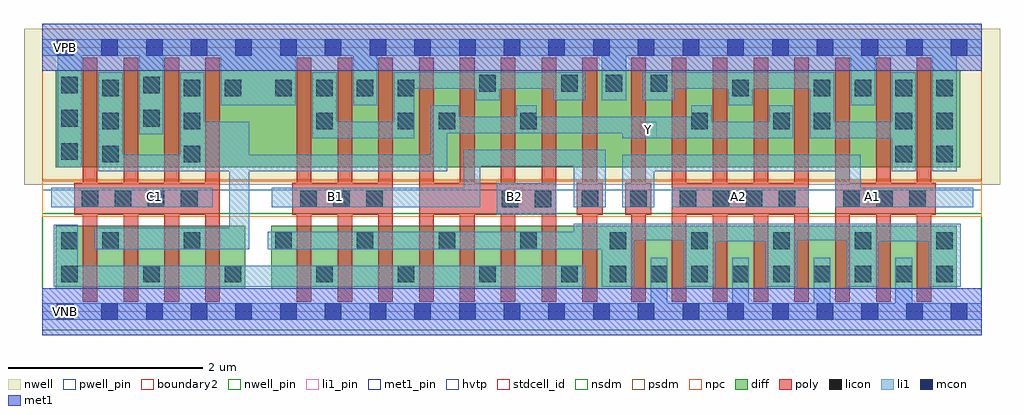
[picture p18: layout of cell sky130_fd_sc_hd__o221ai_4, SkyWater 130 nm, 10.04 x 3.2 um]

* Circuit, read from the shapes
.subckt sky130_fd_sc_hd__o221ai_4 A1 A2 B1 B2 C1 VGND VNB VPB VPWR Y
XM1 Y C1 n1 VNB sky130_fd_pr__nfet_01v8 w=0.65 l=0.15 m=4
XM2 n1 B1 n2 VNB sky130_fd_pr__nfet_01v8 w=0.65 l=0.15 m=4
XM3 n2 B2 n1 VNB sky130_fd_pr__nfet_01v8 w=0.65 l=0.15 m=4
XM4 VGND A1 n2 VNB sky130_fd_pr__nfet_01v8 w=0.65 l=0.15 m=4
XM5 n2 A2 VGND VNB sky130_fd_pr__nfet_01v8 w=0.65 l=0.15 m=4
XM6 Y C1 VPWR VPB sky130_fd_pr__pfet_01v8_hvt w=1 l=0.15 m=4
XM7 n3 B1 VPWR VPB sky130_fd_pr__pfet_01v8_hvt w=1 l=0.15 m=4
XM8 Y B2 n3 VPB sky130_fd_pr__pfet_01v8_hvt w=1 l=0.15 m=4
XM9 n4 A1 VPWR VPB sky130_fd_pr__pfet_01v8_hvt w=1 l=0.15 m=4
XM10 Y A2 n4 VPB sky130_fd_pr__pfet_01v8_hvt w=1 l=0.15 m=4
.ends

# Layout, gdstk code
import gdstk
lib = gdstk.Library(unit=1e-6, precision=1e-09)
def R(c, l, rs):  # rectangles x0, y0, x1, y1
    for r in rs: c.add(gdstk.rectangle(r[:2], r[2:], *l))
def A(c, l, x, y, w, h, nx, ny, dx, dy):  # array of equal rectangles
    R(c, l, [(x+i*dx, y+j*dy, x+i*dx+w, y+j*dy+h) for i in range(nx) for j in range(ny)])
def P(c, l, *ps):  # polygons
    for p in ps: c.add(gdstk.Polygon(p, *l))
nwell_pin = (64, 16)
nwell = (64, 20)
diff = (65, 20)
poly = (66, 20)
licon = (66, 44)
li1_pin = (67, 16)
li1 = (67, 20)
mcon = (67, 44)
met1_pin = (68, 16)
met1 = (68, 20)
hvtp = (78, 44)
stdcell_id = (81, 4)
nsdm = (93, 44)
psdm = (94, 20)
npc = (95, 20)
pwell_pin = (122, 16)
boundary2 = (236, 0)

sky130_fd_sc_hd__o221ai_ = lib.new_cell('sky130_fd_sc_hd__o221ai_4')
R(sky130_fd_sc_hd__o221ai_, nwell_pin, [(0.15,2.635,0.32,2.805)])
R(sky130_fd_sc_hd__o221ai_, nwell, [(-0.19,1.305,9.85,2.91)])
R(sky130_fd_sc_hd__o221ai_, diff, [(0.135,0.235,2.085,0.885), (2.355,0.235,9.405,0.885), (0.135,1.485,9.44,2.485)])
P(sky130_fd_sc_hd__o221ai_, poly, [(5.765,1.325),(5.705,1.325),(5.705,2.615),(5.555,2.615),(5.555,1.325),(5.495,1.325),(5.495,0.995),(5.555,0.995),(5.555,0.105),(5.705,0.105),(5.705,0.995),(5.765,0.995)],
  [(6.265,1.325),(6.205,1.325),(6.205,2.615),(6.055,2.615),(6.055,1.325),(5.995,1.325),(5.995,0.995),(6.055,0.995),(6.055,0.105),(6.205,0.105),(6.205,0.995),(6.265,0.995)],
  [(9.19,1.325),(9.145,1.325),(9.145,2.615),(8.995,2.615),(8.995,1.325),(8.725,1.325),(8.725,2.615),(8.575,2.615),(8.575,1.325),(8.305,1.325),(8.305,2.615),(8.155,2.615),(8.155,0.105),(8.305,0.105),(8.305,0.995),(8.575,0.995),(8.575,0.105),(8.725,0.105),(8.725,0.995),(8.995,0.995),(8.995,0.105),(9.145,0.105),(9.145,0.995),(9.19,0.995)],
  [(7.885,2.615),(7.735,2.615),(7.735,1.325),(7.465,1.325),(7.465,2.615),(7.315,2.615),(7.315,1.325),(7.045,1.325),(7.045,2.615),(6.895,2.615),(6.895,1.325),(6.625,1.325),(6.625,2.615),(6.475,2.615),(6.475,0.105),(6.625,0.105),(6.625,0.995),(6.895,0.995),(6.895,0.105),(7.045,0.105),(7.045,0.995),(7.315,0.995),(7.315,0.105),(7.465,0.105),(7.465,0.995),(7.735,0.995),(7.735,0.105),(7.885,0.105)],
  [(3.605,2.615),(3.455,2.615),(3.455,1.325),(3.185,1.325),(3.185,2.615),(3.035,2.615),(3.035,1.325),(2.765,1.325),(2.765,2.615),(2.615,2.615),(2.615,1.325),(2.57,1.325),(2.57,0.995),(2.615,0.995),(2.615,0.105),(2.765,0.105),(2.765,0.995),(3.035,0.995),(3.035,0.105),(3.185,0.105),(3.185,0.995),(3.455,0.995),(3.455,0.105),(3.605,0.105)],
  [(5.285,2.615),(5.135,2.615),(5.135,1.325),(4.865,1.325),(4.865,2.615),(4.715,2.615),(4.715,1.325),(4.445,1.325),(4.445,2.615),(4.295,2.615),(4.295,1.325),(4.025,1.325),(4.025,2.615),(3.875,2.615),(3.875,0.105),(4.025,0.105),(4.025,0.995),(4.295,0.995),(4.295,0.105),(4.445,0.105),(4.445,0.995),(4.715,0.995),(4.715,0.105),(4.865,0.105),(4.865,0.995),(5.135,0.995),(5.135,0.105),(5.285,0.105)],
  [(1.825,2.615),(1.675,2.615),(1.675,1.325),(1.405,1.325),(1.405,2.615),(1.255,2.615),(1.255,1.325),(0.985,1.325),(0.985,2.615),(0.835,2.615),(0.835,1.325),(0.565,1.325),(0.565,2.615),(0.415,2.615),(0.415,1.325),(0.325,1.325),(0.325,0.995),(0.415,0.995),(0.415,0.105),(0.565,0.105),(0.565,0.995),(0.835,0.995),(0.835,0.105),(0.985,0.105),(0.985,0.995),(1.255,0.995),(1.255,0.105),(1.405,0.105),(1.405,0.995),(1.675,0.995),(1.675,0.105),(1.825,0.105)])
A(sky130_fd_sc_hd__o221ai_, licon, 0.195, 0.305, 0.17, 0.17, 3, 1, 0.84, 0)
A(sky130_fd_sc_hd__o221ai_, licon, 2.815, 0.305, 0.17, 0.17, 4, 1, 0.84, 0)
A(sky130_fd_sc_hd__o221ai_, licon, 5.835, 0.305, 0.17, 0.17, 9, 1, 0.42, 0)
A(sky130_fd_sc_hd__o221ai_, licon, 2.395, 0.645, 0.17, 0.17, 4, 1, 0.84, 0)
A(sky130_fd_sc_hd__o221ai_, licon, 5.835, 0.645, 0.17, 0.17, 5, 1, 0.84, 0)
A(sky130_fd_sc_hd__o221ai_, licon, 0.405, 1.075, 0.17, 0.17, 4, 1, 0.34, 0)
A(sky130_fd_sc_hd__o221ai_, licon, 2.65, 1.075, 0.17, 0.17, 3, 1, 0.34, 0)
A(sky130_fd_sc_hd__o221ai_, licon, 6.555, 1.075, 0.17, 0.17, 4, 1, 0.34, 0)
A(sky130_fd_sc_hd__o221ai_, licon, 8.235, 1.075, 0.17, 0.17, 3, 1, 0.34, 0)
A(sky130_fd_sc_hd__o221ai_, licon, 0.615, 1.535, 0.17, 0.17, 1, 3, 0, 0.34)
A(sky130_fd_sc_hd__o221ai_, licon, 1.455, 1.535, 0.17, 0.17, 1, 3, 0, 0.34)
A(sky130_fd_sc_hd__o221ai_, licon, 0.195, 1.565, 0.17, 0.17, 1, 3, 0, 0.34)
A(sky130_fd_sc_hd__o221ai_, licon, 2.395, 2.215, 0.17, 0.17, 4, 1, 0.42, 0)
A(sky130_fd_sc_hd__o221ai_, licon, 7.935, 2.215, 0.17, 0.17, 4, 1, 0.42, 0)
A(sky130_fd_sc_hd__o221ai_, licon, 5.335, 2.265, 0.17, 0.17, 3, 1, 0.46, 0)
R(sky130_fd_sc_hd__o221ai_, licon, [(0.195,0.645,0.365,0.815), (0.615,0.645,0.785,0.815), (1.455,0.645,1.625,0.815), (4.725,1.075,4.895,1.245), (5.065,1.075,5.235,1.245), (5.545,1.075,5.715,1.245), (6.045,1.075,6.215,1.245), (8.775,1.535,8.945,1.705), (9.195,1.535,9.365,1.705), (2.815,1.875,2.985,2.045), (3.655,1.875,3.825,2.045), (4.075,1.875,4.245,2.045), (4.915,1.875,5.085,2.045), (6.675,1.875,6.845,2.045), (7.515,1.875,7.685,2.045), (7.935,1.875,8.105,2.045), (8.775,1.875,8.945,2.045), (9.195,1.875,9.365,2.045), (1.035,1.905,1.205,2.075), (1.875,2.215,2.045,2.385), (7.095,2.215,7.265,2.385), (1.035,2.245,1.205,2.415), (4.495,2.265,4.665,2.435)])
R(sky130_fd_sc_hd__o221ai_, li1_pin, [(1.07,1.105,1.24,1.275), (2.93,1.105,3.1,1.275), (4.77,1.105,4.94,1.275), (7.07,1.105,7.24,1.275), (8.45,1.105,8.62,1.275), (6.15,1.785,6.32,1.955)])
R(sky130_fd_sc_hd__o221ai_, li1, [(4.675,0.995,5.285,1.325), (0.09,1.075,1.75,1.275), (6.475,1.075,7.885,1.275)])
P(sky130_fd_sc_hd__o221ai_, li1, [(9.66,2.805),(0,2.805),(0,2.635),(0.155,2.635),(0.155,1.485),(0.405,1.485),(0.405,2.635),(0.995,2.635),(0.995,1.825),(1.245,1.825),(1.245,2.635),(1.835,2.635),(1.835,2.125),(2.605,2.125),(2.605,2.635),(3.195,2.635),(3.195,2.125),(3.445,2.125),(3.445,2.635),(5.755,2.635),(5.755,2.175),(6.005,2.175),(6.005,2.635),(8.315,2.635),(8.315,2.125),(8.565,2.125),(8.565,2.635),(9.155,2.635),(9.155,1.445),(9.405,1.445),(9.405,2.635),(9.66,2.635)],
  [(9.575,1.275),(8.42,1.275),(8.42,1.615),(5.965,1.615),(5.965,1.075),(6.295,1.075),(6.295,1.445),(8.155,1.445),(8.155,1.075),(9.575,1.075)],
  [(9.66,0.085),(8.945,0.085),(8.945,0.555),(8.775,0.555),(8.775,0.085),(8.105,0.085),(8.105,0.555),(7.935,0.555),(7.935,0.085),(7.265,0.085),(7.265,0.555),(7.095,0.555),(7.095,0.085),(6.425,0.085),(6.425,0.555),(6.255,0.555),(6.255,0.085),(0,0.085),(0,-0.085),(9.66,-0.085)],
  [(5.585,2.465),(3.615,2.465),(3.615,1.955),(3.025,1.955),(3.025,2.465),(2.775,2.465),(2.775,1.785),(3.825,1.785),(3.825,2.295),(4.455,2.295),(4.455,2.175),(4.705,2.175),(4.705,2.295),(5.255,2.295),(5.255,2.175),(5.585,2.175)],
  [(5.585,0.475),(0.365,0.475),(0.365,0.895),(0.115,0.895),(0.115,0.255),(5.585,0.255)],
  [(5.795,1.665),(4.335,1.665),(4.335,1.275),(2.36,1.275),(2.36,1.075),(4.505,1.075),(4.505,1.495),(5.465,1.495),(5.465,1.075),(5.795,1.075)],
  [(7.725,2.125),(7.475,2.125),(7.475,1.955),(6.885,1.955),(6.885,2.125),(6.675,2.125),(6.675,2.005),(5.085,2.005),(5.085,2.125),(4.875,2.125),(4.875,2.005),(4.285,2.005),(4.285,2.125),(3.995,2.125),(3.995,1.615),(2.125,1.615),(2.125,1.955),(1.665,1.955),(1.665,2.465),(1.415,2.465),(1.415,1.615),(0.825,1.615),(0.825,2.465),(0.575,2.465),(0.575,1.445),(1.92,1.445),(1.92,0.865),(0.535,0.865),(0.535,0.645),(2.125,0.645),(2.125,1.445),(4.165,1.445),(4.165,1.835),(5.965,1.835),(5.965,1.785),(7.725,1.785)],
  [(8.985,2.465),(8.735,2.465),(8.735,1.955),(8.145,1.955),(8.145,2.465),(6.175,2.465),(6.175,2.175),(6.505,2.175),(6.505,2.295),(7.055,2.295),(7.055,2.125),(7.305,2.125),(7.305,2.295),(7.895,2.295),(7.895,1.785),(8.735,1.785),(8.735,1.445),(8.985,1.445)],
  [(9.445,0.905),(5.465,0.905),(5.465,0.82),(2.315,0.82),(2.315,0.645),(5.755,0.645),(5.755,0.255),(6.085,0.255),(6.085,0.735),(6.595,0.735),(6.595,0.255),(6.925,0.255),(6.925,0.725),(7.435,0.725),(7.435,0.255),(7.765,0.255),(7.765,0.735),(8.275,0.735),(8.275,0.255),(8.605,0.255),(8.605,0.725),(9.115,0.725),(9.115,0.255),(9.445,0.255)])
A(sky130_fd_sc_hd__o221ai_, mcon, 0.145, -0.085, 0.17, 0.17, 21, 2, 0.46, 2.72)
R(sky130_fd_sc_hd__o221ai_, met1_pin, [(0.15,-0.085,0.32,0.085), (0.15,2.635,0.32,2.805)])
R(sky130_fd_sc_hd__o221ai_, hvtp, [(0,1.25,9.66,2.72)])
R(sky130_fd_sc_hd__o221ai_, stdcell_id, [(0,0,9.66,2.72)])
R(sky130_fd_sc_hd__o221ai_, nsdm, [(0,-0.19,9.66,1.015)])
R(sky130_fd_sc_hd__o221ai_, psdm, [(0,1.355,9.66,2.91)])
R(sky130_fd_sc_hd__o221ai_, npc, [(0,0.975,9.66,1.345)])
R(sky130_fd_sc_hd__o221ai_, pwell_pin, [(0.15,-0.085,0.32,0.085)])
R(sky130_fd_sc_hd__o221ai_, boundary2, [(0,0,9.66,2.72)])
sky130_fd_sc_hd__o221ai_.add(gdstk.FlexPath([(0,2.72),(9.66,2.72)], 0.48, ends="flush", simple_path=True, layer=68, datatype=20))  # met1
sky130_fd_sc_hd__o221ai_.add(gdstk.FlexPath([(0,0),(9.66,0)], 0.48, ends="flush", simple_path=True, layer=68, datatype=20))  # met1
sky130_fd_sc_hd__o221ai_.add(gdstk.Label('B1', (3.015,1.19), layer=67, texttype=5))
sky130_fd_sc_hd__o221ai_.add(gdstk.Label('B2', (4.855,1.19), layer=67, texttype=5))
sky130_fd_sc_hd__o221ai_.add(gdstk.Label('A2', (7.155,1.19), layer=67, texttype=5))
sky130_fd_sc_hd__o221ai_.add(gdstk.Label('C1', (1.155,1.19), layer=67, texttype=5))
sky130_fd_sc_hd__o221ai_.add(gdstk.Label('Y', (6.235,1.87), layer=67, texttype=5))
sky130_fd_sc_hd__o221ai_.add(gdstk.Label('A1', (8.535,1.19), layer=67, texttype=5))
sky130_fd_sc_hd__o221ai_.add(gdstk.Label('VNB', (0.235,0), layer=64, texttype=59))
sky130_fd_sc_hd__o221ai_.add(gdstk.Label('VPB', (0.235,2.72), layer=64, texttype=5))
sky130_fd_sc_hd__o221ai_.add(gdstk.Label('VGND', (0.23,0), layer=68, texttype=5))
sky130_fd_sc_hd__o221ai_.add(gdstk.Label('VPWR', (0.23,2.72), layer=68, texttype=5))
sky130_fd_sc_hd__o221ai_.add(gdstk.Label('o221ai_4', (0,0), layer=83, texttype=44))

lib.write_gds('sky130_fd_sc_hd__o221ai_4.gds')
